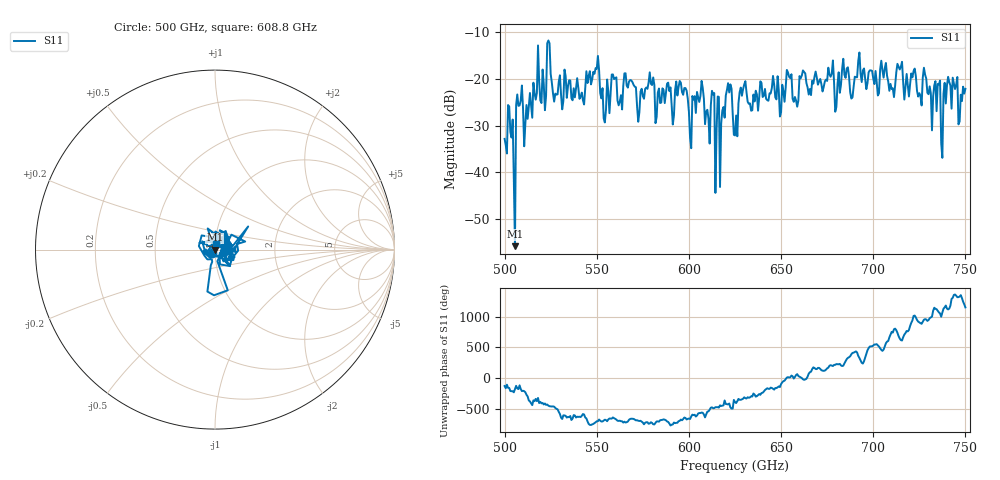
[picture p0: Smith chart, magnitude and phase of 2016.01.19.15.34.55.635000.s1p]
!Created with skrf (http://scikit-rf.org).
# GHz S RI R 50.0
!freq ReS11 ImS11
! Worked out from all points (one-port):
!   401 points, 500 GHz to 750 GHz, reference 50 ohm
!   lowest |S11| = -55.7 dB at 505.6 GHz (marker M1), VSWR 1.00, Z = 49.8 - j0.00396 ohm
!   |S11| at or under -10 dB: start of sweep to end of sweep
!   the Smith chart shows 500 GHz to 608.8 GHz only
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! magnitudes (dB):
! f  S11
! 500 GHz  -32.8
! 503.1 GHz  -31.4
! 504.4 GHz  -28.7
! 505.6 GHz  -55.7
! 508.1 GHz  -25.7
! 511.9 GHz  -25.6
! 524.4 GHz  -12.5
! 526.9 GHz  -24.9
! 531.2 GHz  -26.6
! 541.9 GHz  -23.0
! 550 GHz  -17.9
! 553.8 GHz  -28.5
! 559.4 GHz  -20.1
! 562.5 GHz  -24.9
! 593.8 GHz  -23.6
! 600.6 GHz  -32.6
! 612.5 GHz  -22.6
! 615.6 GHz  -23.8
! 621.9 GHz  -23.0
! 625 GHz  -32.1
! 629.4 GHz  -22.3
! 656.2 GHz  -24.3
! 687.5 GHz  -22.9
! 718.8 GHz  -21.4
! 735 GHz  -21.1
! 738.1 GHz  -23.2
! 740 GHz  -21.4
! 750 GHz  -22.2
